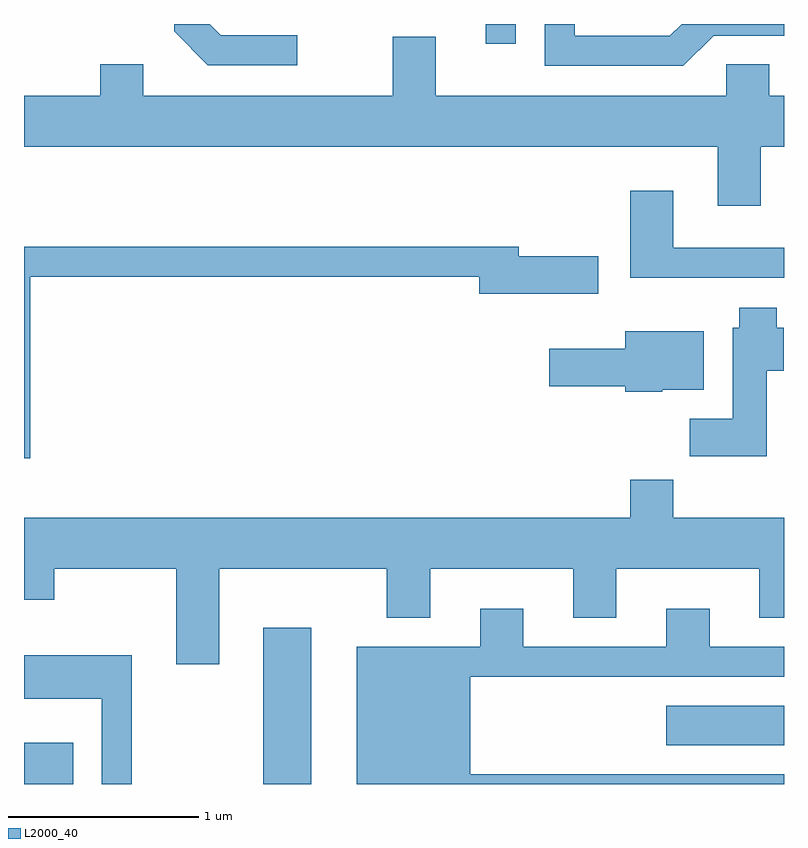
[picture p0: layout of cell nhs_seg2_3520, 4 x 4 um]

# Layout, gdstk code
import gdstk
lib = gdstk.Library(unit=1e-6, precision=1e-09)
def R(c, l, rs):  # rectangles x0, y0, x1, y1
    for r in rs: c.add(gdstk.rectangle(r[:2], r[2:], *l))
def P(c, l, *ps):  # polygons
    for p in ps: c.add(gdstk.Polygon(p, *l))
L2000_40 = (2000, 40)

nhs_seg2_3520 = lib.new_cell('nhs_seg2_3520')
R(nhs_seg2_3520, L2000_40, [(287.611,1093.802,287.869,1094.019), (288.871,1093.802,289.124,1094.624), (290.991,1094.006,291.611,1094.214), (290.041,1097.698,290.199,1097.802)])
P(nhs_seg2_3520, L2000_40, [(291.242,1097.741),(291.611,1097.741),(291.611,1097.802),(291.072,1097.802),(291.009,1097.739),(290.509,1097.739),(290.509,1097.802),(290.351,1097.802),(290.351,1097.581),(291.082,1097.581)],
  [(289.048,1097.744),(288.647,1097.744),(288.589,1097.802),(288.401,1097.802),(288.401,1097.764),(288.579,1097.586),(289.048,1097.586)],
  [(291.489,1097.156),(291.611,1097.156),(291.611,1097.424),(291.534,1097.424),(291.534,1097.589),(291.306,1097.589),(291.306,1097.424),(289.779,1097.424),(289.779,1097.734),(289.551,1097.734),(289.551,1097.424),(288.239,1097.424),(288.239,1097.589),(288.011,1097.589),(288.011,1097.424),(287.611,1097.424),(287.611,1097.156),(291.261,1097.156),(291.261,1096.846),(291.489,1096.846)],
  [(291.611,1096.624),(291.029,1096.624),(291.029,1096.924),(290.801,1096.924),(290.801,1096.466),(291.611,1096.466)],
  [(287.644,1096.471),(290.006,1096.471),(290.006,1096.381),(290.634,1096.381),(290.634,1096.579),(290.214,1096.579),(290.214,1096.629),(287.611,1096.629),(287.611,1095.516),(287.644,1095.516)],
  [(291.519,1095.976),(291.609,1095.976),(291.609,1096.204),(291.574,1096.204),(291.574,1096.309),(291.376,1096.309),(291.376,1096.204),(291.341,1096.204),(291.341,1095.724),(291.116,1095.724),(291.116,1095.526),(291.519,1095.526)],
  [(290.97,1095.876),(291.189,1095.876),(291.189,1096.184),(290.776,1096.184),(290.776,1096.094),(290.376,1096.094),(290.376,1095.896),(290.776,1095.896),(290.776,1095.866),(290.97,1095.866)],
  [(288.639,1094.936),(289.521,1094.936),(289.521,1094.676),(289.749,1094.676),(289.749,1094.936),(290.501,1094.936),(290.501,1094.676),(290.729,1094.676),(290.729,1094.936),(291.481,1094.936),(291.481,1094.676),(291.611,1094.676),(291.611,1095.204),(291.029,1095.204),(291.029,1095.404),(290.801,1095.404),(290.801,1095.204),(287.611,1095.204),(287.611,1094.771),(287.769,1094.771),(287.769,1094.936),(288.411,1094.936),(288.411,1094.431),(288.639,1094.431)],
  [(291.611,1093.854),(289.959,1093.854),(289.959,1094.366),(291.611,1094.366),(291.611,1094.524),(291.219,1094.524),(291.219,1094.724),(290.991,1094.724),(290.991,1094.524),(290.239,1094.524),(290.239,1094.724),(290.011,1094.724),(290.011,1094.524),(289.361,1094.524),(289.361,1093.802),(291.611,1093.802)],
  [(288.179,1094.479),(287.611,1094.479),(287.611,1094.251),(288.021,1094.251),(288.021,1093.802),(288.179,1093.802)])

lib.write_gds('nhs_seg2_3520.gds')
